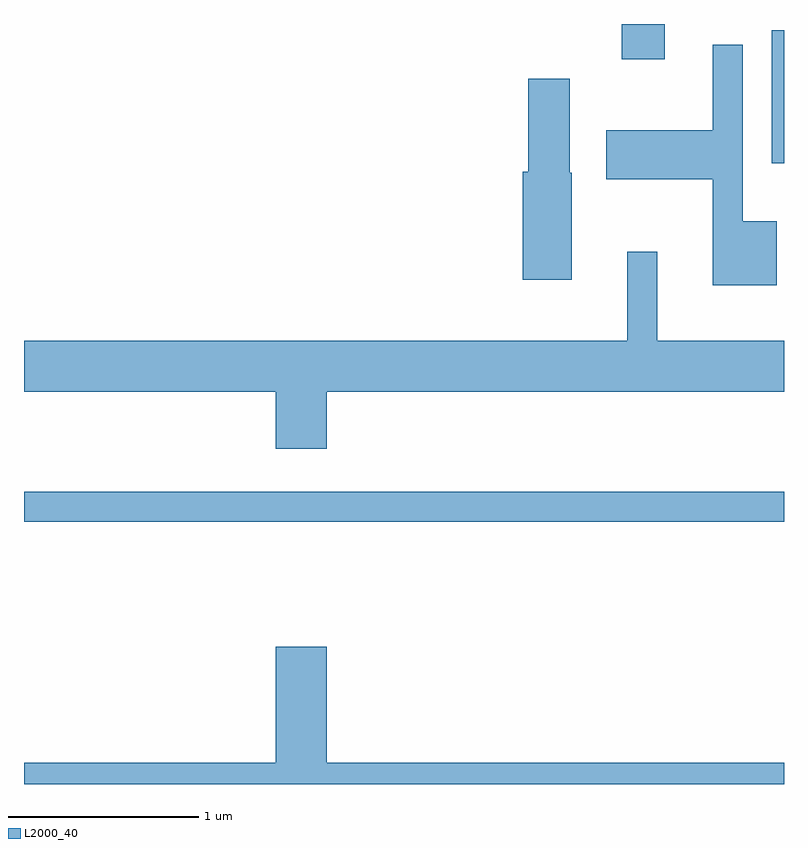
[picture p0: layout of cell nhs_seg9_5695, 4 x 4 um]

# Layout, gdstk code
import gdstk
lib = gdstk.Library(unit=1e-6, precision=1e-09)
def R(c, l, rs):  # rectangles x0, y0, x1, y1
    for r in rs: c.add(gdstk.rectangle(r[:2], r[2:], *l))
def P(c, l, *ps):  # polygons
    for p in ps: c.add(gdstk.Polygon(p, *l))
L2000_40 = (2000, 40)

nhs_seg9_5695 = lib.new_cell('nhs_seg9_5695')
R(nhs_seg9_5695, L2000_40, [(353.611,1977.811,357.611,1977.969), (357.546,1979.698,357.611,1980.399), (356.756,1980.246,356.984,1980.432)])
P(nhs_seg9_5695, L2000_40, [(357.574,1979.394),(357.394,1979.394),(357.394,1980.323),(357.236,1980.323),(357.236,1979.874),(356.676,1979.874),(356.676,1979.616),(357.236,1979.616),(357.236,1979.056),(357.574,1979.056)],
  [(356.494,1979.65),(356.484,1979.65),(356.484,1980.144),(356.266,1980.144),(356.266,1979.654),(356.236,1979.654),(356.236,1979.086),(356.494,1979.086)],
  [(355.204,1978.496),(357.611,1978.496),(357.611,1978.764),(356.944,1978.764),(356.944,1979.233),(356.786,1979.233),(356.786,1978.764),(353.611,1978.764),(353.611,1978.496),(354.936,1978.496),(354.936,1978.196),(355.204,1978.196)],
  [(353.611,1976.432),(357.611,1976.432),(357.611,1976.544),(355.204,1976.544),(355.204,1977.154),(354.936,1977.154),(354.936,1976.544),(353.611,1976.544)])

lib.write_gds('nhs_seg9_5695.gds')
